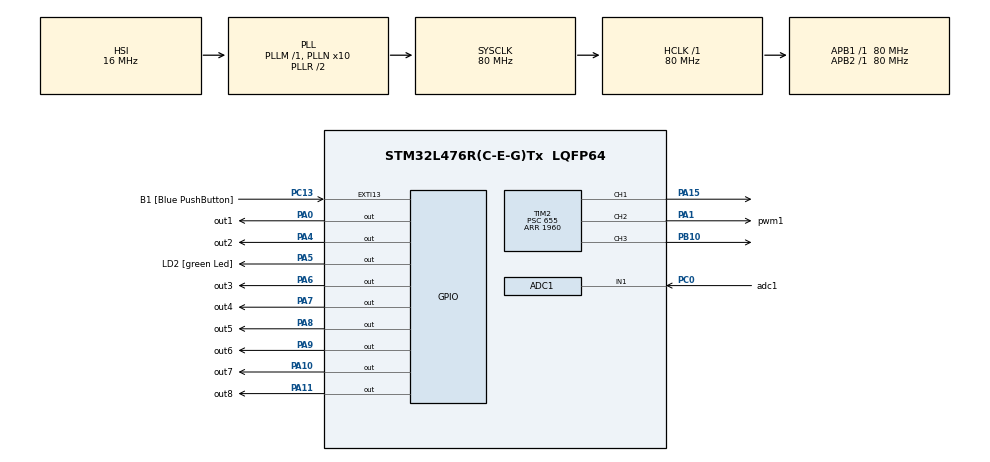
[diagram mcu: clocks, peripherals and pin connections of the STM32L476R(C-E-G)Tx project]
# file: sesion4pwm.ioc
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ADC1.Channel-0\#ChannelRegularConversion=ADC_CHANNEL_1
ADC1.ContinuousConvMode=ENABLE
ADC1.NbrOfConversionFlag=1
ADC1.OffsetNumber-0\#ChannelRegularConversion=ADC_OFFSET_NONE
ADC1.Rank-0\#ChannelRegularConversion=1
ADC1.SamplingTime-0\#ChannelRegularConversion=ADC_SAMPLETIME_2CYCLES_5
ADC1.master=1
Mcu.Family=STM32L4
Mcu.Name=STM32L476R(C-E-G)Tx
Mcu.Package=LQFP64
NVIC.ADC1_2_IRQn=true\:0\:0\:false\:false\:true\:true\:true
NVIC.PriorityGroup=NVIC_PRIORITYGROUP_4
NVIC.TIM2_IRQn=true\:2\:0\:true\:false\:true\:true\:true
PA0.GPIO_Label=out1
PA0.Signal=GPIO_Output
PA1.GPIO_Label=pwm1
PA1.Signal=S_TIM2_CH2
PA10.GPIO_Label=out7
PA10.Signal=GPIO_Output
PA11.GPIO_Label=out8
PA11.Signal=GPIO_Output
PA13\ (JTMS-SWDIO).GPIO_Label=TMS
PA13\ (JTMS-SWDIO).Mode=Serial_Wire
PA13\ (JTMS-SWDIO).Signal=SYS_JTMS-SWDIO
PA14\ (JTCK-SWCLK).GPIO_Label=TCK
PA14\ (JTCK-SWCLK).Mode=Serial_Wire
PA14\ (JTCK-SWCLK).Signal=SYS_JTCK-SWCLK
PA15\ (JTDI).Signal=S_TIM2_CH1
PA4.GPIO_Label=out2
PA4.Signal=GPIO_Output
PA5.GPIO_Label=LD2 [green Led]
PA5.GPIO_ModeDefaultOutputPP=GPIO_MODE_OUTPUT_PP
PA5.GPIO_PuPd=GPIO_NOPULL
PA5.GPIO_Speed=GPIO_SPEED_FREQ_LOW
PA5.Signal=GPIO_Output
PA6.GPIO_Label=out3
PA6.Signal=GPIO_Output
PA7.GPIO_Label=out4
PA7.Signal=GPIO_Output
PA8.GPIO_Label=out5
PA8.Signal=GPIO_Output
PA9.GPIO_Label=out6
PA9.Signal=GPIO_Output
PB10.Signal=S_TIM2_CH3
PB3\ (JTDO-TRACESWO).GPIO_Label=SWO
PB3\ (JTDO-TRACESWO).Signal=SYS_JTDO-SWO
PC0.GPIO_Label=adc1
PC0.Signal=ADCx_IN1
PC13.GPIO_Label=B1 [Blue PushButton]
PC13.GPIO_ModeDefaultEXTI=GPIO_MODE_IT_FALLING
PC13.GPIO_PuPd=GPIO_NOPULL
PC13.Signal=GPXTI13
PC14-OSC32_IN\ (PC14).Mode=LSE-External-Oscillator
PC14-OSC32_IN\ (PC14).Signal=RCC_OSC32_IN
PC15-OSC32_OUT\ (PC15).Mode=LSE-External-Oscillator
PC15-OSC32_OUT\ (PC15).Signal=RCC_OSC32_OUT
PH0-OSC_IN\ (PH0).Signal=RCC_OSC_IN
PH1-OSC_OUT\ (PH1).Signal=RCC_OSC_OUT
ProjectManager.HeapSize=0x200
ProjectManager.StackSize=0x400
ProjectManager.TargetToolchain=TrueSTUDIO
RCC.ADCFreq_Value=64000000
RCC.AHBFreq_Value=80000000
RCC.APB1Freq_Value=80000000
RCC.APB1TimFreq_Value=80000000
RCC.APB2Freq_Value=80000000
RCC.APB2TimFreq_Value=80000000
RCC.CortexFreq_Value=80000000
RCC.HCLKFreq_Value=80000000
RCC.HSE_VALUE=8000000
RCC.HSI_VALUE=16000000
RCC.MSI_VALUE=4000000
RCC.PLLN=10
RCC.PLLSourceVirtual=RCC_PLLSOURCE_HSI
RCC.PREFETCH_ENABLE=1
RCC.SYSCLKFreq_VALUE=80000000
RCC.SYSCLKSource=RCC_SYSCLKSOURCE_PLLCLK
RCC.USBFreq_Value=64000000
RCC.VCOOutputFreq_Value=160000000
SH.ADCx_IN1.0=ADC1_IN1,IN1-Single-Ended
SH.S_TIM2_CH1.0=TIM2_CH1,PWM Generation1 CH1
SH.S_TIM2_CH2.0=TIM2_CH2,PWM Generation2 CH2
SH.S_TIM2_CH3.0=TIM2_CH3,PWM Generation3 CH3
TIM2.Channel-PWM\ Generation1\ CH1=TIM_CHANNEL_1
TIM2.Channel-PWM\ Generation2\ CH2=TIM_CHANNEL_2
TIM2.Channel-PWM\ Generation3\ CH3=TIM_CHANNEL_3
TIM2.Period=1960
TIM2.Prescaler=655
VP_TIM2_VS_ClockSourceINT.Mode=Internal
board=NUCLEO-L476RG

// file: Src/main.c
/* USER CODE BEGIN Header */
/**
  ******************************************************************************
  * @file           : main.c
  * @brief          : Main program body
  ******************************************************************************
  * @attention
  *
  * <h2><center>&copy; Copyright (c) 2020 STMicroelectronics.
  * All rights reserved.</center></h2>
  *
  * This software component is licensed by ST under BSD 3-Clause license,
  * the "License"; You may not use this file except in compliance with the
  * License. You may obtain a copy of the License at:
  *                        opensource.org/licenses/BSD-3-Clause
  *
  ******************************************************************************
  */
/* USER CODE END Header */

#include "main.h"
#include "adc.h"
#include "tim.h"
#include "gpio.h"

void SystemClock_Config(void);

int main(void)
{

  /* MCU Configuration--------------------------------------------------------*/

  /* Reset of all peripherals, Initializes the Flash interface and the Systick. */
  HAL_Init();

  /* Configure the system clock */
  SystemClock_Config();

  /* Initialize all configured peripherals */
  MX_GPIO_Init();
  MX_TIM2_Init();
  MX_ADC1_Init();
  /* USER CODE BEGIN 2 */

  HAL_TIM_PWM_Start(&htim2, TIM_CHANNEL_1); //rojo
  HAL_TIM_PWM_Start(&htim2, TIM_CHANNEL_2); //verde
  HAL_TIM_PWM_Start(&htim2, TIM_CHANNEL_3); //azul
  __HAL_TIM_SET_COMPARE(&htim2,TIM_CHANNEL_1, 1960);
  __HAL_TIM_SET_COMPARE(&htim2,TIM_CHANNEL_2, 1960);
  __HAL_TIM_SET_COMPARE(&htim2,TIM_CHANNEL_3, 1960);

  /* USER CODE END 2 */

  /* Infinite loop */
  /* USER CODE BEGIN WHILE */
  while (1)
  {
    for(uint16_t i=1960; i>0; i--) //verde up
        {
          __HAL_TIM_SET_COMPARE(&htim2,TIM_CHANNEL_2, i);
          HAL_Delay(3);
        }
    HAL_Delay(200);
        for(uint16_t i=1960; i>0; i--) //azul up
            {
              __HAL_TIM_SET_COMPARE(&htim2,TIM_CHANNEL_3, i);
              HAL_Delay(3);
            }
     HAL_Delay(200);
         for(uint16_t i=1960; i>0; i--) //rojo up
             {
               __HAL_TIM_SET_COMPARE(&htim2,TIM_CHANNEL_1, i);
               HAL_Delay(3);
             }
         HAL_Delay(200);
         for(uint16_t i=0; i<1960; i++) //verde down
             {
               __HAL_TIM_SET_COMPARE(&htim2,TIM_CHANNEL_2, i);
               HAL_Delay(3);
             }
         HAL_Delay(200);
         for(uint16_t i=0; i<1960; i++) //azul down
                      {
                        __HAL_TIM_SET_COMPARE(&htim2,TIM_CHANNEL_3, i);
                        HAL_Delay(3);
                      }
         HAL_Delay(200);
         for(uint16_t i=0; i<1960; i++) //rojo down
                      {
                        __HAL_TIM_SET_COMPARE(&htim2,TIM_CHANNEL_1, i);
                        HAL_Delay(3);
                      }
         HAL_Delay(200);
    /* USER CODE END WHILE */

  }
}

void SystemClock_Config(void)
{
  RCC_OscInitTypeDef RCC_OscInitStruct = {0};
  RCC_ClkInitTypeDef RCC_ClkInitStruct = {0};
  RCC_PeriphCLKInitTypeDef PeriphClkInit = {0};

  /** Initializes the CPU, AHB and APB busses clocks
  */
  RCC_OscInitStruct.OscillatorType = RCC_OSCILLATORTYPE_HSI;
  RCC_OscInitStruct.HSIState = RCC_HSI_ON;
  RCC_OscInitStruct.HSICalibrationValue = RCC_HSICALIBRATION_DEFAULT;
  RCC_OscInitStruct.PLL.PLLState = RCC_PLL_ON;
  RCC_OscInitStruct.PLL.PLLSource = RCC_PLLSOURCE_HSI;
  RCC_OscInitStruct.PLL.PLLM = 1;
  RCC_OscInitStruct.PLL.PLLN = 10;
  RCC_OscInitStruct.PLL.PLLP = RCC_PLLP_DIV7;
  RCC_OscInitStruct.PLL.PLLQ = RCC_PLLQ_DIV2;
  RCC_OscInitStruct.PLL.PLLR = RCC_PLLR_DIV2;
  if (HAL_RCC_OscConfig(&RCC_OscInitStruct) != HAL_OK)
  {
    Error_Handler();
  }
  /** Initializes the CPU, AHB and APB busses clocks
  */
  RCC_ClkInitStruct.ClockType = RCC_CLOCKTYPE_HCLK|RCC_CLOCKTYPE_SYSCLK
                              |RCC_CLOCKTYPE_PCLK1|RCC_CLOCKTYPE_PCLK2;
  RCC_ClkInitStruct.SYSCLKSource = RCC_SYSCLKSOURCE_PLLCLK;
  RCC_ClkInitStruct.AHBCLKDivider = RCC_SYSCLK_DIV1;
  RCC_ClkInitStruct.APB1CLKDivider = RCC_HCLK_DIV1;
  RCC_ClkInitStruct.APB2CLKDivider = RCC_HCLK_DIV1;

  if (HAL_RCC_ClockConfig(&RCC_ClkInitStruct, FLASH_LATENCY_4) != HAL_OK)
  {
    Error_Handler();
  }
  PeriphClkInit.PeriphClockSelection = RCC_PERIPHCLK_ADC;
  PeriphClkInit.AdcClockSelection = RCC_ADCCLKSOURCE_PLLSAI1;
  PeriphClkInit.PLLSAI1.PLLSAI1Source = RCC_PLLSOURCE_HSI;
  PeriphClkInit.PLLSAI1.PLLSAI1M = 1;
  PeriphClkInit.PLLSAI1.PLLSAI1N = 8;
  PeriphClkInit.PLLSAI1.PLLSAI1P = RCC_PLLP_DIV7;
  PeriphClkInit.PLLSAI1.PLLSAI1Q = RCC_PLLQ_DIV2;
  PeriphClkInit.PLLSAI1.PLLSAI1R = RCC_PLLR_DIV2;
  PeriphClkInit.PLLSAI1.PLLSAI1ClockOut = RCC_PLLSAI1_ADC1CLK;
  if (HAL_RCCEx_PeriphCLKConfig(&PeriphClkInit) != HAL_OK)
  {
    Error_Handler();
  }
  /** Configure the main internal regulator output voltage
  */
  if (HAL_PWREx_ControlVoltageScaling(PWR_REGULATOR_VOLTAGE_SCALE1) != HAL_OK)
  {
    Error_Handler();
  }
}

void Error_Handler(void)
{
}

/************************ (C) COPYRIGHT STMicroelectronics *****END OF FILE****/
